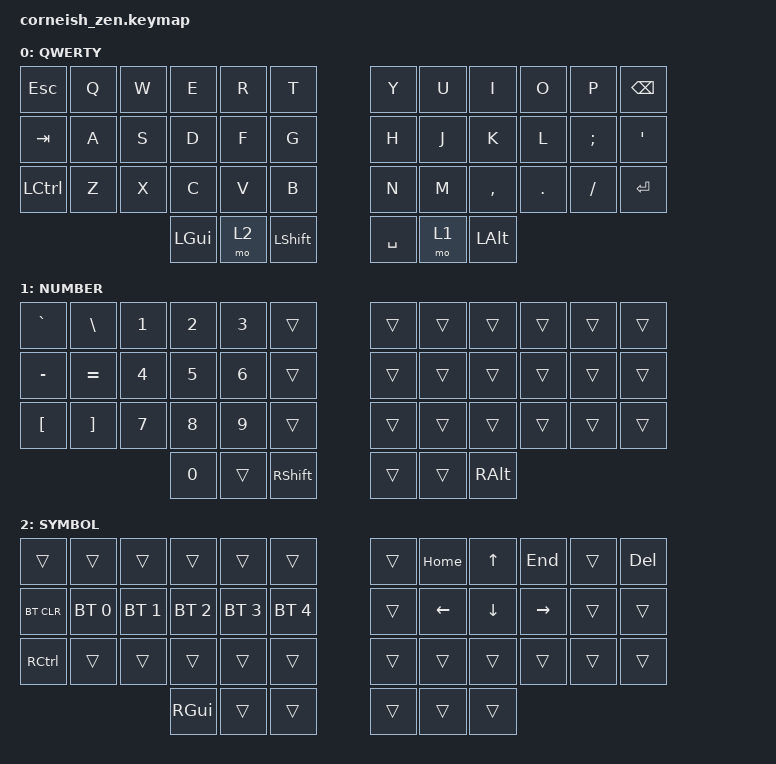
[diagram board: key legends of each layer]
#include <behaviors.dtsi>
#include <dt-bindings/zmk/keys.h>
#include <dt-bindings/zmk/bt.h>

/ {
  chosen {
    zmk,matrix_transform = &default_transform;
    //zmk,matrix_transform = &five_column_transform;
  };
};

/ {
        keymap {
                compatible = "zmk,keymap";

                default_layer {
                        label = "QWERTY";
// -----------------------------------------------------------------------------------------
// |  ESC |  Q  |  W  |  E  |  R  |  T  |   |  Y  |  U   |  I  |  O  |  P  | BKSP |
// |  TAB |  A  |  S  |  D  |  F  |  G  |   |  H  |  J   |  K  |  L  |  ;  |  '   |
// | CTRL |  Z  |  X  |  C  |  V  |  B  |   |  N  |  M   |  ,  |  .  |  /  |ENTER |
//                    | GUI | RSE | SHFT | | SPC | LWR  | ALT |
                        bindings = <
   &kp ESC   &kp Q &kp W &kp E &kp R &kp T   &kp Y &kp U  &kp I     &kp O   &kp P    &kp BSPC
   &kp TAB &kp A &kp S &kp D &kp F &kp G   &kp H &kp J  &kp K     &kp L   &kp SEMI &kp SQT
   &kp LCTRL &kp Z &kp X &kp C &kp V &kp B   &kp N &kp M  &kp COMMA &kp DOT &kp FSLH &kp RET
                  &kp LGUI &mo 2 &kp LSHFT   &kp SPACE &mo 1 &kp LALT
                        >;
                };
                lower_layer {
                        label = "NUMBER";
// -----------------------------------------------------------------------------------------
// |GRAVE|BSLH |  1  |  2  |  3  |     |   |    |    |    |    |    |     |
// |MINUS|EQUAL|  4  |  5  |  6  |     |   |    |    |    |    |    |     |
// |LBKT | RBKT|  7  |  8  |  9  |     |   |    |    |    |    |    |     |
//             | 0 |  | RSHT |    |   |    | RALT |
                        bindings = <
   &kp GRAVE &kp BSLH  &kp N1  &kp N2  &kp N3   &trans      &trans &trans &trans &trans &trans &trans
   &kp MINUS &kp EQUAL  &kp N4  &kp N5  &kp N6   &trans      &trans &trans &trans &trans &trans &trans
   &kp LBKT &kp RBKT  &kp N7  &kp N8  &kp N9   &trans      &trans &trans &trans &trans &trans &trans
                  &kp N0   &trans   &kp RSHFT              &trans &trans &kp RALT
                        >;
                };

                raise_layer {
                        label = "SYMBOL";
// -----------------------------------------------------------------------------------------
// |      |     |     |     |     |     |        |     | HOME| UP  | END |     |  DEL |
// | BTCLR| BT1 | BT2 | BT3 | BT4 | BT5 |        |     | LEFT|DOWN |RIGHT|     |      |
// | RCTRL|     |     |     |     |     |        |     |     |     |     |     |      |
//                    |     | RGUI |     |      |     |     |     |
                        bindings = <
   &trans &trans &trans &trans &trans &trans                                      &trans &kp HOME &kp UP &kp END &trans &kp DEL 
   &bt BT_CLR &bt BT_SEL 0 &bt BT_SEL 1 &bt BT_SEL 2 &bt BT_SEL 3 &bt BT_SEL 4    &trans &kp LEFT &kp DOWN &kp RIGHT &trans &trans 
   &kp RCTRL &trans &trans &trans &trans &trans                                      &trans &trans &trans &trans &trans &trans 
                         &kp RGUI &trans &trans                                   &trans &trans &trans
                        >;
                };
        };
};
